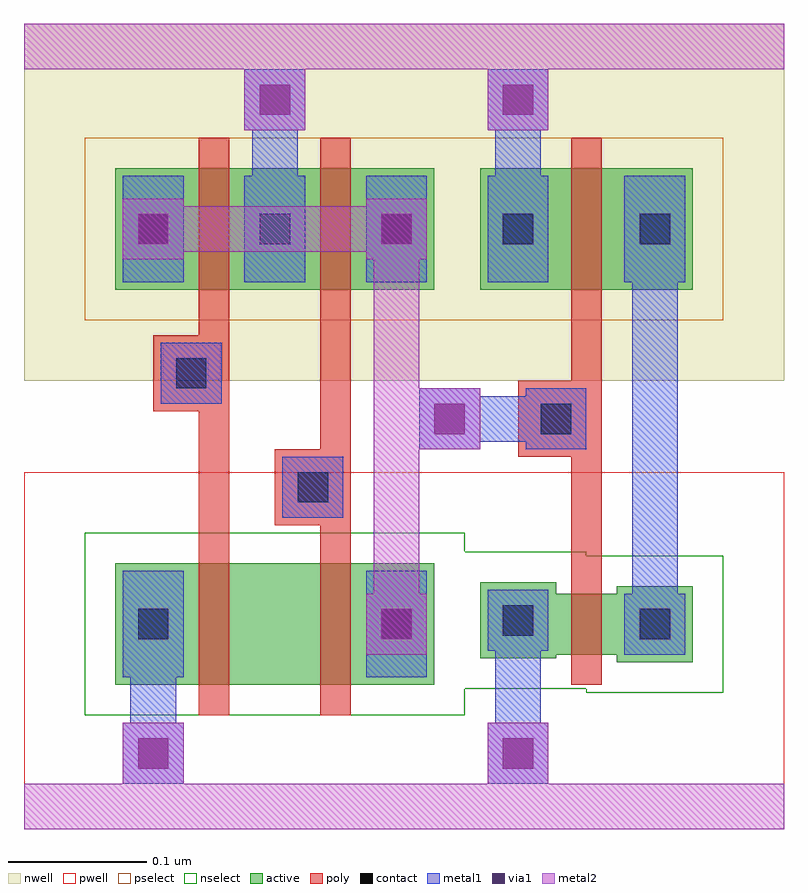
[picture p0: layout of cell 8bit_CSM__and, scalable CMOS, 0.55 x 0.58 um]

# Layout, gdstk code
import gdstk
lib = gdstk.Library(unit=1e-6, precision=1e-11)
def R(c, l, rs):  # rectangles x0, y0, x1, y1
    for r in rs: c.add(gdstk.rectangle(r[:2], r[2:], *l))
def A(c, l, x, y, w, h, nx, ny, dx, dy):  # array of equal rectangles
    R(c, l, [(x+i*dx, y+j*dy, x+i*dx+w, y+j*dy+h) for i in range(nx) for j in range(ny)])
contact = (25, 0)
pwell = (41, 0)
nwell = (42, 0)
active = (43, 0)
pselect = (44, 0)
nselect = (45, 0)
poly = (46, 0)
metal1 = (49, 0)
via1 = (50, 0)
metal2 = (51, 0)

c_8bit_csm__and = lib.new_cell('8bit_CSM__and')
A(c_8bit_csm__and, contact, -0.286, 0.143, 0.022, 0.022, 3, 1, 0.088, 0)
R(c_8bit_csm__and, contact, [(-0.374,-0.143,-0.352,-0.121), (-0.374,-0.143,-0.352,-0.121), (-0.198,-0.143,-0.176,-0.121), (-0.198,-0.143,-0.176,-0.121), (-0.011,-0.143,0.011,-0.121), (-0.11,-0.1402,-0.088,-0.1182), (-0.2585,-0.044,-0.2365,-0.022), (-0.0825,0.0055,-0.0605,0.0275), (-0.3465,0.0385,-0.3245,0.0605), (-0.374,0.143,-0.352,0.165), (-0.374,0.143,-0.352,0.165), (-0.286,0.143,-0.264,0.165), (-0.011,0.143,0.011,0.165), (-0.011,0.143,0.011,0.165)])
R(c_8bit_csm__and, pwell, [(-0.4565,-0.2805,-0.4345,-0.2035), (-0.4455,-0.2805,0.0935,-0.2145), (-0.4565,-0.242,-0.2695,-0.022), (-0.429,-0.242,-0.209,-0.022), (-0.3602,-0.242,-0.1897,-0.077), (-0.341,-0.242,-0.121,-0.022), (-0.2805,-0.242,-0.0935,-0.022), (-0.4565,-0.2255,-0.2695,-0.0385), (-0.4565,-0.2255,-0.4345,-0.176), (-0.2805,-0.2255,-0.0935,-0.0385), (-0.0935,-0.2255,0.0935,-0.0385), (-0.1925,-0.2227,-0.0055,-0.0357), (-0.1595,-0.22,0.0605,-0.044), (-0.451,-0.2145,-0.2805,-0.0495), (-0.4455,-0.2145,-0.2777,-0.0495), (-0.2722,-0.2145,-0.1045,-0.0495), (-0.2722,-0.2145,-0.099,-0.0495), (-0.187,-0.2145,-0.0082,-0.0495), (-0.0907,-0.2145,0.088,-0.0495), (-0.3602,-0.187,-0.1897,-0.022), (-0.1155,-0.044,0.0935,-0.022)])
A(c_8bit_csm__and, nwell, -0.4565, 0.044, 0.187, 0.22, 4, 1, 0.088, 0)
R(c_8bit_csm__and, nwell, [(-0.429,0.044,-0.209,0.264), (-0.341,0.044,-0.121,0.264), (-0.1595,0.044,0.0605,0.264), (-0.0935,0.044,0.0935,0.264), (-0.451,0.055,-0.2777,0.22), (-0.4565,0.0605,-0.2695,0.2475), (-0.3685,0.0605,-0.1815,0.2475), (-0.0935,0.0605,0.0935,0.2475), (-0.4455,0.0715,-0.2777,0.2365), (-0.3602,0.0715,-0.187,0.2365), (-0.3602,0.0715,-0.1925,0.2365), (-0.3575,0.0715,-0.1897,0.2365), (-0.2722,0.0715,-0.099,0.2365), (-0.187,0.0715,-0.0082,0.2365), (-0.0907,0.0715,0.0825,0.2365), (-0.0907,0.0715,0.088,0.2365), (-0.4565,0.2475,0.0935,0.3025)])
A(c_8bit_csm__and, active, -0.3905, 0.11, 0.055, 0.088, 4, 1, 0.088, 0)
R(c_8bit_csm__and, active, [(-0.3905,-0.176,-0.3355,-0.088), (-0.363,-0.176,-0.275,-0.088), (-0.2942,-0.176,-0.2557,-0.143), (-0.275,-0.176,-0.187,-0.088), (-0.2145,-0.176,-0.1595,-0.088), (-0.3905,-0.1595,-0.3355,-0.1045), (-0.2145,-0.1595,-0.1595,-0.1045), (-0.0275,-0.1595,0.0275,-0.1045), (-0.1265,-0.1567,-0.0715,-0.1017), (-0.0935,-0.154,-0.0055,-0.11), (-0.385,-0.1485,-0.3465,-0.1155), (-0.3795,-0.1485,-0.3437,-0.1155), (-0.2062,-0.1485,-0.1705,-0.1155), (-0.2062,-0.1485,-0.165,-0.1155), (-0.121,-0.1485,-0.0742,-0.1155), (-0.0247,-0.1485,0.022,-0.1155), (-0.2942,-0.121,-0.2557,-0.088), (-0.363,0.11,-0.275,0.198), (-0.275,0.11,-0.187,0.198), (-0.0935,0.11,-0.0055,0.198), (-0.0275,0.11,0.0275,0.198), (-0.385,0.121,-0.3437,0.154), (-0.3905,0.1265,-0.3355,0.1815), (-0.3025,0.1265,-0.2475,0.1815), (-0.0275,0.1265,0.0275,0.1815), (-0.3795,0.1375,-0.3437,0.1705), (-0.2942,0.1375,-0.2585,0.1705), (-0.2942,0.1375,-0.253,0.1705), (-0.2915,0.1375,-0.2557,0.1705), (-0.2062,0.1375,-0.165,0.1705), (-0.121,0.1375,-0.0742,0.1705), (-0.0247,0.1375,0.0165,0.1705), (-0.0247,0.1375,0.022,0.1705)])
A(c_8bit_csm__and, pselect, -0.4125, 0.088, 0.099, 0.132, 4, 1, 0.088, 0)
R(c_8bit_csm__and, pselect, [(-0.385,0.088,-0.253,0.22), (-0.297,0.088,-0.165,0.22), (-0.1155,0.088,0.0165,0.22), (-0.0495,0.088,0.0495,0.22), (-0.407,0.099,-0.3217,0.176), (-0.4125,0.1045,-0.3135,0.2035), (-0.3245,0.1045,-0.2255,0.2035), (-0.0495,0.1045,0.0495,0.2035), (-0.4015,0.1155,-0.3217,0.1925), (-0.3162,0.1155,-0.231,0.1925), (-0.3162,0.1155,-0.2365,0.1925), (-0.3135,0.1155,-0.2337,0.1925), (-0.2282,0.1155,-0.143,0.1925), (-0.143,0.1155,-0.0522,0.1925), (-0.0467,0.1155,0.0385,0.1925), (-0.0467,0.1155,0.044,0.1925)])
R(c_8bit_csm__and, nselect, [(-0.4125,-0.198,-0.3135,-0.066), (-0.385,-0.198,-0.253,-0.066), (-0.3162,-0.198,-0.2337,-0.121), (-0.297,-0.198,-0.165,-0.066), (-0.2365,-0.198,-0.1375,-0.066), (-0.4125,-0.1815,-0.3135,-0.0825), (-0.2365,-0.1815,-0.1375,-0.0825), (-0.0495,-0.1815,0.0495,-0.0825), (-0.1485,-0.1787,-0.0495,-0.0797), (-0.1155,-0.176,0.0165,-0.088), (-0.407,-0.1705,-0.3245,-0.0935), (-0.4015,-0.1705,-0.3217,-0.0935), (-0.2282,-0.1705,-0.1485,-0.0935), (-0.2282,-0.1705,-0.143,-0.0935), (-0.143,-0.1705,-0.0522,-0.0935), (-0.0467,-0.1705,0.044,-0.0935), (-0.3162,-0.143,-0.2337,-0.066)])
R(c_8bit_csm__and, poly, [(-0.33,-0.198,-0.308,-0.066), (-0.242,-0.198,-0.22,-0.066), (-0.0605,-0.176,-0.0385,-0.088), (-0.0605,-0.099,-0.0385,0.0275), (-0.33,-0.077,-0.308,0.0605), (-0.242,-0.077,-0.22,-0.0275), (-0.275,-0.0605,-0.22,-0.0055), (-0.2585,-0.0495,-0.22,-0.0275), (-0.242,-0.0495,-0.22,0.099), (-0.099,-0.011,-0.044,0.044), (-0.0825,0.0055,-0.0385,0.0275), (-0.0605,0.0055,-0.0385,0.099), (-0.363,0.022,-0.308,0.077), (-0.352,0.0385,-0.308,0.0605), (-0.33,0.0385,-0.308,0.099), (-0.33,0.088,-0.308,0.22), (-0.242,0.088,-0.22,0.22), (-0.0605,0.088,-0.0385,0.22)])
A(c_8bit_csm__and, metal1, -0.385, 0.1155, 0.044, 0.077, 4, 1, 0.088, 0)
A(c_8bit_csm__and, metal1, -0.385, 0.132, 0.044, 0.044, 3, 1, 0.088, 0)
R(c_8bit_csm__and, metal1, [(-0.385,-0.2475,-0.341,-0.2035), (-0.121,-0.2475,-0.077,-0.2035), (-0.3795,-0.2365,-0.3465,-0.1155), (-0.1155,-0.231,-0.0825,-0.1072), (-0.385,-0.1705,-0.341,-0.0935), (-0.209,-0.1705,-0.165,-0.0935), (-0.209,-0.1595,-0.165,-0.11), (-0.385,-0.154,-0.341,-0.11), (-0.209,-0.154,-0.165,-0.11), (-0.209,-0.154,-0.165,-0.11), (-0.209,-0.154,-0.165,-0.11), (-0.022,-0.154,0.022,-0.11), (-0.121,-0.1512,-0.077,-0.1072), (-0.0165,-0.143,0.0165,0.0302), (-0.2695,-0.055,-0.2255,-0.011), (-0.264,-0.0495,-0.231,-0.0165), (-0.1705,-0.0055,-0.1265,0.0385), (-0.0935,-0.0055,-0.0495,0.0385), (-0.0165,-0.0027,0.0165,0.0302), (-0.0165,-0.0027,0.0165,0.165), (-0.165,0,-0.0935,0.033), (-0.1265,0,-0.055,0.033), (-0.3575,0.0275,-0.3135,0.0715), (-0.352,0.033,-0.319,0.066), (-0.1155,0.1155,-0.0825,0.264), (-0.022,0.1155,0.022,0.1925), (-0.385,0.132,-0.341,0.176), (-0.385,0.132,-0.341,0.187), (-0.209,0.132,-0.165,0.187), (-0.022,0.132,0.022,0.176), (-0.2915,0.1375,-0.2585,0.264), (-0.297,0.2255,-0.253,0.2695), (-0.121,0.2255,-0.077,0.2695)])
R(c_8bit_csm__and, via1, [(-0.374,-0.2365,-0.352,-0.2145), (-0.11,-0.2365,-0.088,-0.2145), (-0.198,-0.143,-0.176,-0.121), (-0.1595,0.0055,-0.1375,0.0275), (-0.374,0.143,-0.352,0.165), (-0.198,0.143,-0.176,0.165), (-0.286,0.2365,-0.264,0.2585), (-0.11,0.2365,-0.088,0.2585)])
R(c_8bit_csm__and, metal2, [(-0.4565,-0.2805,-0.3465,-0.2475), (-0.3795,-0.2805,-0.3465,-0.209), (-0.3795,-0.2805,-0.088,-0.2475), (-0.121,-0.2805,-0.0825,-0.2475), (-0.1155,-0.2805,0.0935,-0.2475), (-0.1155,-0.2805,-0.0825,-0.2035), (-0.385,-0.2475,-0.341,-0.2035), (-0.121,-0.2475,-0.077,-0.2035), (-0.209,-0.154,-0.165,-0.11), (-0.2035,-0.154,-0.1705,0.033), (-0.1705,-0.0055,-0.1265,0.0385), (-0.2035,0,-0.1705,0.1705), (-0.2035,0,-0.1265,0.033), (-0.385,0.132,-0.341,0.176), (-0.209,0.132,-0.165,0.176), (-0.3795,0.1375,-0.1705,0.1705), (-0.297,0.2255,-0.253,0.2695), (-0.121,0.2255,-0.077,0.2695), (-0.2915,0.231,-0.2585,0.3025), (-0.121,0.231,-0.088,0.3025), (-0.4565,0.2695,-0.242,0.3025), (-0.2915,0.2695,-0.242,0.3025), (-0.275,0.2695,-0.0935,0.3025), (-0.1265,0.2695,-0.088,0.3025), (-0.121,0.2695,0.0935,0.3025)])

lib.write_gds('8bit_CSM__and.gds')
